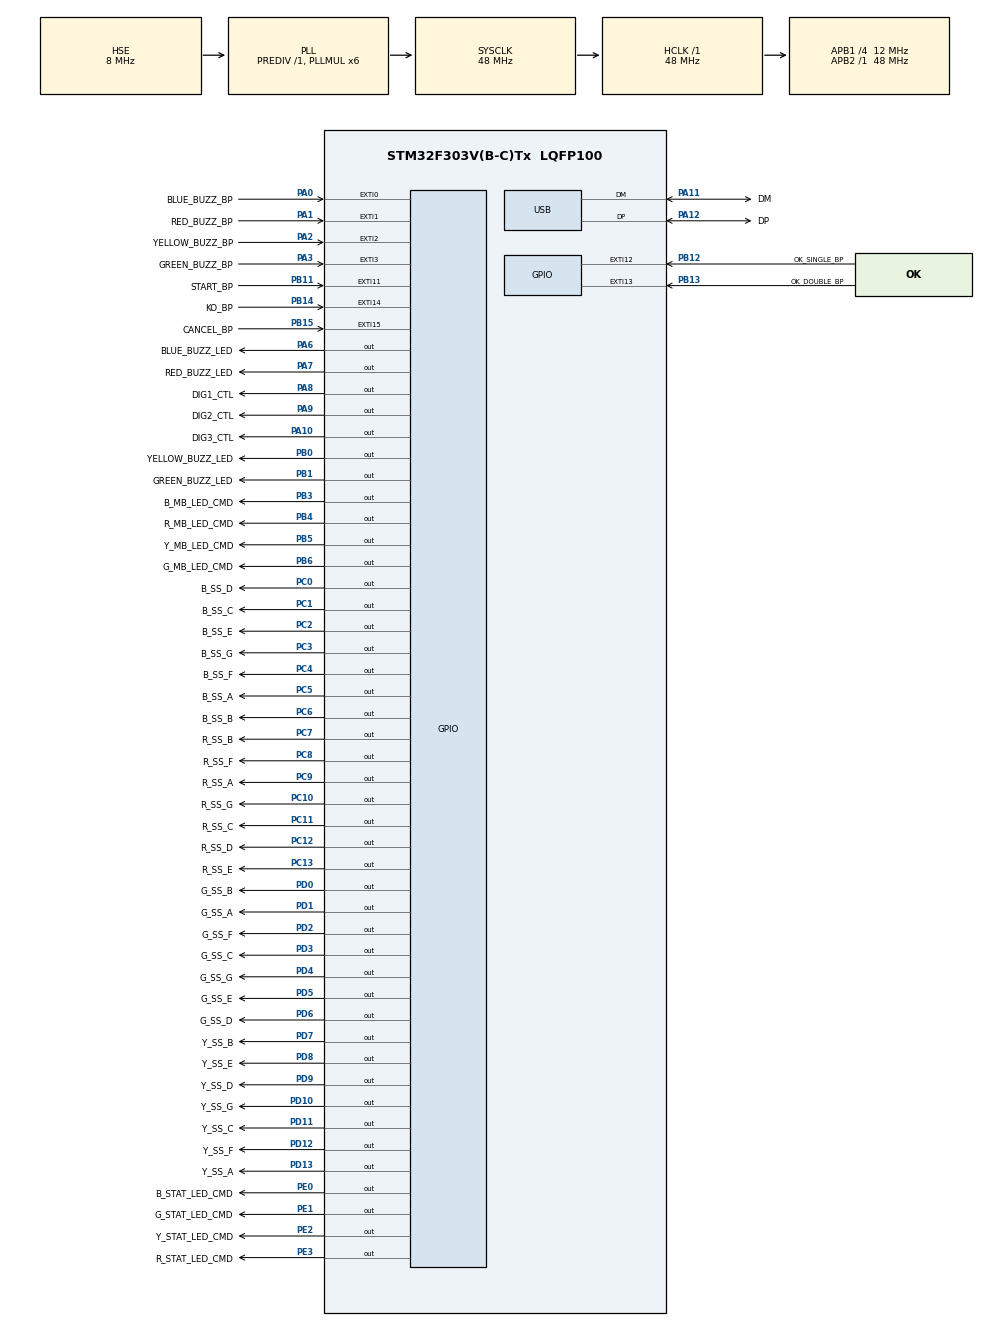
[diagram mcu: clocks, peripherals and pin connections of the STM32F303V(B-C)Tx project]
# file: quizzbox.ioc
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FREERTOS.INCLUDE_uxTaskPriorityGet=0
FREERTOS.INCLUDE_vTaskDelayUntil=1
FREERTOS.INCLUDE_vTaskPrioritySet=0
FREERTOS.Tasks01=defaultTask,0,128,StartDefaultTask,Default,NULL,Dynamic,NULL,NULL
Mcu.Family=STM32F3
Mcu.Name=STM32F303V(B-C)Tx
Mcu.Package=LQFP100
NVIC.EXTI0_IRQn=true\:5\:0\:false\:false\:true\:true\:true\:true
NVIC.EXTI15_10_IRQn=true\:5\:0\:false\:false\:true\:true\:true\:true
NVIC.EXTI1_IRQn=true\:5\:0\:false\:false\:true\:true\:true\:true
NVIC.EXTI2_TSC_IRQn=true\:5\:0\:false\:false\:true\:true\:true\:true
NVIC.EXTI3_IRQn=true\:5\:0\:false\:false\:true\:true\:true\:true
NVIC.PriorityGroup=NVIC_PRIORITYGROUP_4
PA0.GPIO_Label=BLUE_BUZZ_BP
PA0.GPIO_ModeDefaultEXTI=GPIO_MODE_IT_FALLING
PA0.GPIO_PuPd=GPIO_PULLUP
PA0.Signal=GPXTI0
PA1.GPIO_Label=RED_BUZZ_BP
PA1.GPIO_ModeDefaultEXTI=GPIO_MODE_IT_FALLING
PA1.GPIO_PuPd=GPIO_PULLUP
PA1.Signal=GPXTI1
PA10.GPIO_Label=DIG3_CTL
PA10.GPIO_ModeDefaultOutputPP=GPIO_MODE_OUTPUT_OD
PA10.PinState=GPIO_PIN_SET
PA10.Signal=GPIO_Output
PA11.GPIO_Label=DM
PA11.Mode=Device
PA11.Signal=USB_DM
PA12.GPIO_Label=DP
PA12.Mode=Device
PA12.Signal=USB_DP
PA13.GPIO_Label=SWDIO
PA13.Mode=Serial_Wire
PA13.Signal=SYS_JTMS-SWDIO
PA14.GPIO_Label=SWCLK
PA14.Mode=Serial_Wire
PA14.Signal=SYS_JTCK-SWCLK
PA2.GPIO_Label=YELLOW_BUZZ_BP
PA2.GPIO_ModeDefaultEXTI=GPIO_MODE_IT_FALLING
PA2.GPIO_PuPd=GPIO_PULLUP
PA2.Signal=GPXTI2
PA3.GPIO_Label=GREEN_BUZZ_BP
PA3.GPIO_ModeDefaultEXTI=GPIO_MODE_IT_FALLING
PA3.GPIO_PuPd=GPIO_PULLUP
PA3.Signal=GPXTI3
PA6.GPIO_Label=BLUE_BUZZ_LED
PA6.GPIO_ModeDefaultOutputPP=GPIO_MODE_OUTPUT_PP
PA6.Signal=GPIO_Output
PA7.GPIO_Label=RED_BUZZ_LED
PA7.Signal=GPIO_Output
PA8.GPIO_Label=DIG1_CTL
PA8.GPIO_ModeDefaultOutputPP=GPIO_MODE_OUTPUT_OD
PA8.PinState=GPIO_PIN_SET
PA8.Signal=GPIO_Output
PA9.GPIO_Label=DIG2_CTL
PA9.GPIO_ModeDefaultOutputPP=GPIO_MODE_OUTPUT_OD
PA9.PinState=GPIO_PIN_SET
PA9.Signal=GPIO_Output
PB0.GPIO_Label=YELLOW_BUZZ_LED
PB0.Signal=GPIO_Output
PB1.GPIO_Label=GREEN_BUZZ_LED
PB1.Signal=GPIO_Output
PB11.GPIO_Label=START_BP
PB11.GPIO_ModeDefaultEXTI=GPIO_MODE_IT_FALLING
PB11.GPIO_PuPd=GPIO_PULLUP
PB11.Signal=GPXTI11
PB12.GPIO_Label=OK_SINGLE_BP
PB12.GPIO_ModeDefaultEXTI=GPIO_MODE_IT_FALLING
PB12.GPIO_PuPd=GPIO_PULLUP
PB12.Signal=GPXTI12
PB13.GPIO_Label=OK_DOUBLE_BP
PB13.GPIO_ModeDefaultEXTI=GPIO_MODE_IT_FALLING
PB13.GPIO_PuPd=GPIO_PULLUP
PB13.Signal=GPXTI13
PB14.GPIO_Label=KO_BP
PB14.GPIO_ModeDefaultEXTI=GPIO_MODE_IT_FALLING
PB14.GPIO_PuPd=GPIO_PULLUP
PB14.Signal=GPXTI14
PB15.GPIO_Label=CANCEL_BP
PB15.GPIO_ModeDefaultEXTI=GPIO_MODE_IT_FALLING
PB15.GPIO_PuPd=GPIO_PULLUP
PB15.Signal=GPXTI15
PB3.GPIO_Label=B_MB_LED_CMD
PB3.GPIO_ModeDefaultOutputPP=GPIO_MODE_OUTPUT_PP
PB3.Signal=GPIO_Output
PB4.GPIO_Label=R_MB_LED_CMD
PB4.GPIO_ModeDefaultOutputPP=GPIO_MODE_OUTPUT_PP
PB4.Signal=GPIO_Output
PB5.GPIO_Label=Y_MB_LED_CMD
PB5.GPIO_ModeDefaultOutputPP=GPIO_MODE_OUTPUT_PP
PB5.Signal=GPIO_Output
PB6.GPIO_Label=G_MB_LED_CMD
PB6.GPIO_ModeDefaultOutputPP=GPIO_MODE_OUTPUT_PP
PB6.Signal=GPIO_Output
PC0.GPIO_Label=B_SS_D
PC0.GPIO_ModeDefaultOutputPP=GPIO_MODE_OUTPUT_OD
PC0.PinState=GPIO_PIN_SET
PC0.Signal=GPIO_Output
PC1.GPIO_Label=B_SS_C
PC1.GPIO_ModeDefaultOutputPP=GPIO_MODE_OUTPUT_OD
PC1.PinState=GPIO_PIN_SET
PC1.Signal=GPIO_Output
PC10.GPIO_Label=R_SS_G
PC10.GPIO_ModeDefaultOutputPP=GPIO_MODE_OUTPUT_OD
PC10.PinState=GPIO_PIN_SET
PC10.Signal=GPIO_Output
PC11.GPIO_Label=R_SS_C
PC11.GPIO_ModeDefaultOutputPP=GPIO_MODE_OUTPUT_OD
PC11.PinState=GPIO_PIN_SET
PC11.Signal=GPIO_Output
PC12.GPIO_Label=R_SS_D
PC12.GPIO_ModeDefaultOutputPP=GPIO_MODE_OUTPUT_OD
PC12.PinState=GPIO_PIN_SET
PC12.Signal=GPIO_Output
PC13.GPIO_Label=R_SS_E
PC13.GPIO_ModeDefaultOutputPP=GPIO_MODE_OUTPUT_OD
PC13.PinState=GPIO_PIN_SET
PC13.Signal=GPIO_Output
PC14-OSC32_IN.GPIO_Label=OSC32_IN
PC14-OSC32_IN.Signal=RCC_OSC32_IN
PC15-OSC32_OUT.GPIO_Label=OSC32_OUT
PC15-OSC32_OUT.Signal=RCC_OSC32_OUT
PC2.GPIO_Label=B_SS_E
PC2.GPIO_ModeDefaultOutputPP=GPIO_MODE_OUTPUT_OD
PC2.PinState=GPIO_PIN_SET
PC2.Signal=GPIO_Output
PC3.GPIO_Label=B_SS_G
PC3.GPIO_ModeDefaultOutputPP=GPIO_MODE_OUTPUT_OD
PC3.PinState=GPIO_PIN_SET
PC3.Signal=GPIO_Output
PC4.GPIO_Label=B_SS_F
PC4.GPIO_ModeDefaultOutputPP=GPIO_MODE_OUTPUT_OD
PC4.PinState=GPIO_PIN_SET
PC4.Signal=GPIO_Output
PC5.GPIO_Label=B_SS_A
PC5.GPIO_ModeDefaultOutputPP=GPIO_MODE_OUTPUT_OD
PC5.PinState=GPIO_PIN_SET
PC5.Signal=GPIO_Output
PC6.GPIO_Label=B_SS_B
PC6.GPIO_ModeDefaultOutputPP=GPIO_MODE_OUTPUT_OD
PC6.PinState=GPIO_PIN_SET
PC6.Signal=GPIO_Output
PC7.GPIO_Label=R_SS_B
PC7.GPIO_ModeDefaultOutputPP=GPIO_MODE_OUTPUT_OD
PC7.PinState=GPIO_PIN_SET
PC7.Signal=GPIO_Output
PC8.GPIO_Label=R_SS_F
PC8.GPIO_ModeDefaultOutputPP=GPIO_MODE_OUTPUT_OD
PC8.PinState=GPIO_PIN_SET
PC8.Signal=GPIO_Output
PC9.GPIO_Label=R_SS_A
PC9.GPIO_ModeDefaultOutputPP=GPIO_MODE_OUTPUT_OD
PC9.PinState=GPIO_PIN_SET
PC9.Signal=GPIO_Output
PD0.GPIO_Label=G_SS_B
PD0.GPIO_ModeDefaultOutputPP=GPIO_MODE_OUTPUT_OD
PD0.PinState=GPIO_PIN_SET
PD0.Signal=GPIO_Output
PD1.GPIO_Label=G_SS_A
PD1.GPIO_ModeDefaultOutputPP=GPIO_MODE_OUTPUT_OD
PD1.PinState=GPIO_PIN_SET
PD1.Signal=GPIO_Output
PD10.GPIO_Label=Y_SS_G
PD10.GPIO_ModeDefaultOutputPP=GPIO_MODE_OUTPUT_OD
PD10.PinState=GPIO_PIN_SET
PD10.Signal=GPIO_Output
PD11.GPIO_Label=Y_SS_C
PD11.GPIO_ModeDefaultOutputPP=GPIO_MODE_OUTPUT_OD
PD11.PinState=GPIO_PIN_SET
PD11.Signal=GPIO_Output
PD12.GPIO_Label=Y_SS_F
PD12.GPIO_ModeDefaultOutputPP=GPIO_MODE_OUTPUT_OD
PD12.PinState=GPIO_PIN_SET
PD12.Signal=GPIO_Output
PD13.GPIO_Label=Y_SS_A
PD13.GPIO_ModeDefaultOutputPP=GPIO_MODE_OUTPUT_OD
PD13.PinState=GPIO_PIN_SET
PD13.Signal=GPIO_Output
PD2.GPIO_Label=G_SS_F
PD2.GPIO_ModeDefaultOutputPP=GPIO_MODE_OUTPUT_OD
PD2.PinState=GPIO_PIN_SET
PD2.Signal=GPIO_Output
PD3.GPIO_Label=G_SS_C
PD3.GPIO_ModeDefaultOutputPP=GPIO_MODE_OUTPUT_OD
PD3.PinState=GPIO_PIN_SET
PD3.Signal=GPIO_Output
PD4.GPIO_Label=G_SS_G
PD4.GPIO_ModeDefaultOutputPP=GPIO_MODE_OUTPUT_OD
PD4.PinState=GPIO_PIN_SET
PD4.Signal=GPIO_Output
PD5.GPIO_Label=G_SS_E
PD5.GPIO_ModeDefaultOutputPP=GPIO_MODE_OUTPUT_OD
PD5.PinState=GPIO_PIN_SET
PD5.Signal=GPIO_Output
PD6.GPIO_Label=G_SS_D
PD6.GPIO_ModeDefaultOutputPP=GPIO_MODE_OUTPUT_OD
PD6.PinState=GPIO_PIN_SET
PD6.Signal=GPIO_Output
PD7.GPIO_Label=Y_SS_B
PD7.GPIO_ModeDefaultOutputPP=GPIO_MODE_OUTPUT_OD
PD7.PinState=GPIO_PIN_SET
PD7.Signal=GPIO_Output
PD8.GPIO_Label=Y_SS_E
PD8.GPIO_ModeDefaultOutputPP=GPIO_MODE_OUTPUT_OD
PD8.PinState=GPIO_PIN_SET
PD8.Signal=GPIO_Output
PD9.GPIO_Label=Y_SS_D
PD9.GPIO_ModeDefaultOutputPP=GPIO_MODE_OUTPUT_OD
PD9.PinState=GPIO_PIN_SET
PD9.Signal=GPIO_Output
PE0.GPIO_Label=B_STAT_LED_CMD
PE0.GPIO_ModeDefaultOutputPP=GPIO_MODE_OUTPUT_OD
PE0.Signal=GPIO_Output
PE1.GPIO_Label=G_STAT_LED_CMD
PE1.GPIO_ModeDefaultOutputPP=GPIO_MODE_OUTPUT_OD
PE1.Signal=GPIO_Output
PE2.GPIO_Label=Y_STAT_LED_CMD
PE2.GPIO_ModeDefaultOutputPP=GPIO_MODE_OUTPUT_OD
PE2.Signal=GPIO_Output
PE3.GPIO_Label=R_STAT_LED_CMD
PE3.GPIO_ModeDefaultOutputPP=GPIO_MODE_OUTPUT_OD
PE3.Signal=GPIO_Output
PF0-OSC_IN.GPIO_Label=OSC_IN
PF0-OSC_IN.Mode=HSE-External-Clock-Source
PF0-OSC_IN.Signal=RCC_OSC_IN
PF1-OSC_OUT.GPIO_Label=OSC_OUT
PF1-OSC_OUT.Signal=RCC_OSC_OUT
ProjectManager.HeapSize=0x200
ProjectManager.StackSize=0x400
ProjectManager.TargetToolchain=SW4STM32
RCC.AHBFreq_Value=48000000
RCC.APB1CLKDivider=RCC_HCLK_DIV4
RCC.APB1Freq_Value=12000000
RCC.APB1TimFreq_Value=24000000
RCC.APB2Freq_Value=48000000
RCC.APB2TimFreq_Value=48000000
RCC.CortexFreq_Value=48000000
RCC.HCLKFreq_Value=48000000
RCC.HSE_VALUE=8000000
RCC.HSI_VALUE=8000000
RCC.LSE_VALUE=32768
RCC.PLLMUL=RCC_PLL_MUL6
RCC.SYSCLKFreq_VALUE=48000000
RCC.SYSCLKSourceVirtual=RCC_SYSCLKSOURCE_PLLCLK
RCC.USBFreq_Value=48000000
VP_FREERTOS_VS_CMSIS_V1.Mode=CMSIS_V1
board=STM32F3DISCOVERY

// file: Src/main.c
/* USER CODE BEGIN Header */
/**
  ******************************************************************************
  * @file           : main.c
  * @brief          : Main program body
  ******************************************************************************
  * @attention
  *
  * <h2><center>&copy; Copyright (c) 2021 STMicroelectronics.
  * All rights reserved.</center></h2>
  *
  * This software component is licensed by ST under Ultimate Liberty license
  * SLA0044, the "License"; You may not use this file except in compliance with
  * the License. You may obtain a copy of the License at:
  *                             www.st.com/SLA0044
  *
  ******************************************************************************
  */
/* USER CODE END Header */

#include "main.h"
#include "cmsis_os.h"

/* USER CODE BEGIN Includes */
#include "FreeRTOS.h"
#include "task.h"
#include "queue.h"

#include "fsm_task.h"
#include "config.h"
#include "task_config.h"
#include "buzzer_task.h"
#include "handler_task.h"
#include "display_task.h"
/* USER CODE END Includes */

/* USER CODE BEGIN PD */
xQueueHandle buzzer_queue;
xQueueHandle exti_queue;
xQueueHandle fsm_queue;

player_t blue = {BLUE_BUZZ_BP_Pin,
                 {{BLUE_BUZZ_LED_GPIO_Port, BLUE_BUZZ_LED_Pin},
                 {B_MB_LED_CMD_GPIO_Port, B_MB_LED_CMD_Pin}},
                 {B_STAT_LED_CMD_GPIO_Port, B_STAT_LED_CMD_Pin},
                 0};

player_t red = {RED_BUZZ_BP_Pin,
                {{RED_BUZZ_LED_GPIO_Port, RED_BUZZ_LED_Pin},
                {R_MB_LED_CMD_GPIO_Port, R_MB_LED_CMD_Pin}},
                {R_STAT_LED_CMD_GPIO_Port, R_STAT_LED_CMD_Pin},
                0};

player_t yellow = {YELLOW_BUZZ_BP_Pin,
                   {{YELLOW_BUZZ_LED_GPIO_Port, YELLOW_BUZZ_LED_Pin},
                   {Y_MB_LED_CMD_GPIO_Port, Y_MB_LED_CMD_Pin}},
                   {Y_STAT_LED_CMD_GPIO_Port, Y_STAT_LED_CMD_Pin},
                   0};

player_t green = {GREEN_BUZZ_BP_Pin,
                  {{GREEN_BUZZ_LED_GPIO_Port, GREEN_BUZZ_LED_Pin},
                  {G_MB_LED_CMD_GPIO_Port, G_MB_LED_CMD_Pin}},
                  {G_STAT_LED_CMD_GPIO_Port, G_STAT_LED_CMD_Pin},
                  0};

/* USER CODE END PD */

PCD_HandleTypeDef hpcd_USB_FS;

void SystemClock_Config(void);
static void MX_GPIO_Init(void);
static void MX_USB_PCD_Init(void);

/* USER CODE BEGIN 0 */

/* External interrupt callback */
void HAL_GPIO_EXTI_Callback(uint16_t gpio_pin)
{
    /* Detect EXTI event and send pin number to
     * handler_task to quickly process IRQ
     * and to be ready to trigger another one */
    BaseType_t taskWoken = pdFALSE;
    xQueueSendFromISR(exti_queue, &gpio_pin, &taskWoken);
    portEND_SWITCHING_ISR(taskWoken);
}

/* USER CODE END 0 */

int main(void)
{

  /* MCU Configuration--------------------------------------------------------*/

  /* Reset of all peripherals, Initializes the Flash interface and the Systick. */
  HAL_Init();

  /* Configure the system clock */
  SystemClock_Config();

  /* Initialize all configured peripherals */
  MX_GPIO_Init();
  MX_USB_PCD_Init();

  /* USER CODE BEGIN RTOS_QUEUES */
  buzzer_queue = xQueueCreate(BUZZ_ID_QUEUE_LEN, sizeof(led_group_t));
  exti_queue = xQueueCreate(EXTI_QUEUE_LEN, sizeof(uint16_t));
  fsm_queue = xQueueCreate(FSM_QUEUE_LEN, sizeof(fsm_input_t));
  /* USER CODE END RTOS_QUEUES */

  /* USER CODE BEGIN RTOS_THREADS */
  create_buzzer_task();
  create_handler_task();
  create_fsm_task();
  create_display_task();
  /* USER CODE END RTOS_THREADS */

  /* Start scheduler */
  vTaskStartScheduler();

  /* We should never get here as control is now taken by the scheduler */

  /* Infinite loop */
  while (1)
  {

  }
}

void SystemClock_Config(void)
{
  RCC_OscInitTypeDef RCC_OscInitStruct = {0};
  RCC_ClkInitTypeDef RCC_ClkInitStruct = {0};
  RCC_PeriphCLKInitTypeDef PeriphClkInit = {0};

  /** Initializes the CPU, AHB and APB busses clocks
  */
  RCC_OscInitStruct.OscillatorType = RCC_OSCILLATORTYPE_HSE;
  RCC_OscInitStruct.HSEState = RCC_HSE_BYPASS;
  RCC_OscInitStruct.HSEPredivValue = RCC_HSE_PREDIV_DIV1;
  RCC_OscInitStruct.HSIState = RCC_HSI_ON;
  RCC_OscInitStruct.PLL.PLLState = RCC_PLL_ON;
  RCC_OscInitStruct.PLL.PLLSource = RCC_PLLSOURCE_HSE;
  RCC_OscInitStruct.PLL.PLLMUL = RCC_PLL_MUL6;
  if (HAL_RCC_OscConfig(&RCC_OscInitStruct) != HAL_OK)
  {
    Error_Handler();
  }
  /** Initializes the CPU, AHB and APB busses clocks
  */
  RCC_ClkInitStruct.ClockType = RCC_CLOCKTYPE_HCLK|RCC_CLOCKTYPE_SYSCLK
                              |RCC_CLOCKTYPE_PCLK1|RCC_CLOCKTYPE_PCLK2;
  RCC_ClkInitStruct.SYSCLKSource = RCC_SYSCLKSOURCE_PLLCLK;
  RCC_ClkInitStruct.AHBCLKDivider = RCC_SYSCLK_DIV1;
  RCC_ClkInitStruct.APB1CLKDivider = RCC_HCLK_DIV4;
  RCC_ClkInitStruct.APB2CLKDivider = RCC_HCLK_DIV1;

  if (HAL_RCC_ClockConfig(&RCC_ClkInitStruct, FLASH_LATENCY_1) != HAL_OK)
  {
    Error_Handler();
  }
  PeriphClkInit.PeriphClockSelection = RCC_PERIPHCLK_USB;
  PeriphClkInit.USBClockSelection = RCC_USBCLKSOURCE_PLL;
  if (HAL_RCCEx_PeriphCLKConfig(&PeriphClkInit) != HAL_OK)
  {
    Error_Handler();
  }
}

static void MX_USB_PCD_Init(void)
{

  hpcd_USB_FS.Instance = USB;
  hpcd_USB_FS.Init.dev_endpoints = 8;
  hpcd_USB_FS.Init.speed = PCD_SPEED_FULL;
  hpcd_USB_FS.Init.phy_itface = PCD_PHY_EMBEDDED;
  hpcd_USB_FS.Init.low_power_enable = DISABLE;
  hpcd_USB_FS.Init.battery_charging_enable = DISABLE;
  if (HAL_PCD_Init(&hpcd_USB_FS) != HAL_OK)
  {
    Error_Handler();
  }

}

static void MX_GPIO_Init(void)
{
  GPIO_InitTypeDef GPIO_InitStruct = {0};

  /* GPIO Ports Clock Enable */
  __HAL_RCC_GPIOE_CLK_ENABLE();
  __HAL_RCC_GPIOC_CLK_ENABLE();
  __HAL_RCC_GPIOF_CLK_ENABLE();
  __HAL_RCC_GPIOA_CLK_ENABLE();
  __HAL_RCC_GPIOB_CLK_ENABLE();
  __HAL_RCC_GPIOD_CLK_ENABLE();

  /*Configure GPIO pin Output Level */
  HAL_GPIO_WritePin(GPIOE, Y_STAT_LED_CMD_Pin|R_STAT_LED_CMD_Pin|B_STAT_LED_CMD_Pin|G_STAT_LED_CMD_Pin, GPIO_PIN_RESET);

  /*Configure GPIO pin Output Level */
  HAL_GPIO_WritePin(GPIOC, R_SS_E_Pin|B_SS_D_Pin|B_SS_C_Pin|B_SS_E_Pin
                          |B_SS_G_Pin|B_SS_F_Pin|B_SS_A_Pin|B_SS_B_Pin
                          |R_SS_B_Pin|R_SS_F_Pin|R_SS_A_Pin|R_SS_G_Pin
                          |R_SS_C_Pin|R_SS_D_Pin, GPIO_PIN_SET);

  /*Configure GPIO pin Output Level */
  HAL_GPIO_WritePin(GPIOA, BLUE_BUZZ_LED_Pin|RED_BUZZ_LED_Pin, GPIO_PIN_RESET);

  /*Configure GPIO pin Output Level */
  HAL_GPIO_WritePin(GPIOB, YELLOW_BUZZ_LED_Pin|GREEN_BUZZ_LED_Pin|B_MB_LED_CMD_Pin|R_MB_LED_CMD_Pin
                          |Y_MB_LED_CMD_Pin|G_MB_LED_CMD_Pin, GPIO_PIN_RESET);

  /*Configure GPIO pin Output Level */
  HAL_GPIO_WritePin(GPIOD, Y_SS_E_Pin|Y_SS_D_Pin|Y_SS_G_Pin|Y_SS_C_Pin
                          |Y_SS_F_Pin|Y_SS_A_Pin|G_SS_B_Pin|G_SS_A_Pin
                          |G_SS_F_Pin|G_SS_C_Pin|G_SS_G_Pin|G_SS_E_Pin
                          |G_SS_D_Pin|Y_SS_B_Pin, GPIO_PIN_SET);

  /*Configure GPIO pin Output Level */
  HAL_GPIO_WritePin(GPIOA, DIG1_CTL_Pin|DIG2_CTL_Pin|DIG3_CTL_Pin, GPIO_PIN_SET);

  /*Configure GPIO pins : Y_STAT_LED_CMD_Pin R_STAT_LED_CMD_Pin B_STAT_LED_CMD_Pin G_STAT_LED_CMD_Pin */
  GPIO_InitStruct.Pin = Y_STAT_LED_CMD_Pin|R_STAT_LED_CMD_Pin|B_STAT_LED_CMD_Pin|G_STAT_LED_CMD_Pin;
  GPIO_InitStruct.Mode = GPIO_MODE_OUTPUT_OD;
  GPIO_InitStruct.Pull = GPIO_NOPULL;
  GPIO_InitStruct.Speed = GPIO_SPEED_FREQ_LOW;
  HAL_GPIO_Init(GPIOE, &GPIO_InitStruct);

  /*Configure GPIO pins : R_SS_E_Pin B_SS_D_Pin B_SS_C_Pin B_SS_E_Pin
                           B_SS_G_Pin B_SS_F_Pin B_SS_A_Pin B_SS_B_Pin
                           R_SS_B_Pin R_SS_F_Pin R_SS_A_Pin R_SS_G_Pin
                           R_SS_C_Pin R_SS_D_Pin */
  GPIO_InitStruct.Pin = R_SS_E_Pin|B_SS_D_Pin|B_SS_C_Pin|B_SS_E_Pin
                          |B_SS_G_Pin|B_SS_F_Pin|B_SS_A_Pin|B_SS_B_Pin
                          |R_SS_B_Pin|R_SS_F_Pin|R_SS_A_Pin|R_SS_G_Pin
                          |R_SS_C_Pin|R_SS_D_Pin;
  GPIO_InitStruct.Mode = GPIO_MODE_OUTPUT_OD;
  GPIO_InitStruct.Pull = GPIO_NOPULL;
  GPIO_InitStruct.Speed = GPIO_SPEED_FREQ_LOW;
  HAL_GPIO_Init(GPIOC, &GPIO_InitStruct);

  /*Configure GPIO pins : BLUE_BUZZ_BP_Pin RED_BUZZ_BP_Pin YELLOW_BUZZ_BP_Pin GREEN_BUZZ_BP_Pin */
  GPIO_InitStruct.Pin = BLUE_BUZZ_BP_Pin|RED_BUZZ_BP_Pin|YELLOW_BUZZ_BP_Pin|GREEN_BUZZ_BP_Pin;
  GPIO_InitStruct.Mode = GPIO_MODE_IT_FALLING;
  GPIO_InitStruct.Pull = GPIO_PULLUP;
  HAL_GPIO_Init(GPIOA, &GPIO_InitStruct);

  /*Configure GPIO pins : BLUE_BUZZ_LED_Pin RED_BUZZ_LED_Pin */
  GPIO_InitStruct.Pin = BLUE_BUZZ_LED_Pin|RED_BUZZ_LED_Pin;
  GPIO_InitStruct.Mode = GPIO_MODE_OUTPUT_PP;
  GPIO_InitStruct.Pull = GPIO_NOPULL;
  GPIO_InitStruct.Speed = GPIO_SPEED_FREQ_LOW;
  HAL_GPIO_Init(GPIOA, &GPIO_InitStruct);

  /*Configure GPIO pins : YELLOW_BUZZ_LED_Pin GREEN_BUZZ_LED_Pin B_MB_LED_CMD_Pin R_MB_LED_CMD_Pin
                           Y_MB_LED_CMD_Pin G_MB_LED_CMD_Pin */
  GPIO_InitStruct.Pin = YELLOW_BUZZ_LED_Pin|GREEN_BUZZ_LED_Pin|B_MB_LED_CMD_Pin|R_MB_LED_CMD_Pin
                          |Y_MB_LED_CMD_Pin|G_MB_LED_CMD_Pin;
  GPIO_InitStruct.Mode = GPIO_MODE_OUTPUT_PP;
  GPIO_InitStruct.Pull = GPIO_NOPULL;
  GPIO_InitStruct.Speed = GPIO_SPEED_FREQ_LOW;
  HAL_GPIO_Init(GPIOB, &GPIO_InitStruct);

  /*Configure GPIO pins : START_BP_Pin OK_SINGLE_BP_Pin OK_DOUBLE_BP_Pin KO_BP_Pin
                           CANCEL_BP_Pin */
  GPIO_InitStruct.Pin = START_BP_Pin|OK_SINGLE_BP_Pin|OK_DOUBLE_BP_Pin|KO_BP_Pin
                          |CANCEL_BP_Pin;
  GPIO_InitStruct.Mode = GPIO_MODE_IT_FALLING;
  GPIO_InitStruct.Pull = GPIO_PULLUP;
  HAL_GPIO_Init(GPIOB, &GPIO_InitStruct);

  /*Configure GPIO pins : Y_SS_E_Pin Y_SS_D_Pin Y_SS_G_Pin Y_SS_C_Pin
                           Y_SS_F_Pin Y_SS_A_Pin G_SS_B_Pin G_SS_A_Pin
                           G_SS_F_Pin G_SS_C_Pin G_SS_G_Pin G_SS_E_Pin
                           G_SS_D_Pin Y_SS_B_Pin */
  GPIO_InitStruct.Pin = Y_SS_E_Pin|Y_SS_D_Pin|Y_SS_G_Pin|Y_SS_C_Pin
                          |Y_SS_F_Pin|Y_SS_A_Pin|G_SS_B_Pin|G_SS_A_Pin
                          |G_SS_F_Pin|G_SS_C_Pin|G_SS_G_Pin|G_SS_E_Pin
                          |G_SS_D_Pin|Y_SS_B_Pin;
  GPIO_InitStruct.Mode = GPIO_MODE_OUTPUT_OD;
  GPIO_InitStruct.Pull = GPIO_NOPULL;
  GPIO_InitStruct.Speed = GPIO_SPEED_FREQ_LOW;
  HAL_GPIO_Init(GPIOD, &GPIO_InitStruct);

  /*Configure GPIO pins : DIG1_CTL_Pin DIG2_CTL_Pin DIG3_CTL_Pin */
  GPIO_InitStruct.Pin = DIG1_CTL_Pin|DIG2_CTL_Pin|DIG3_CTL_Pin;
  GPIO_InitStruct.Mode = GPIO_MODE_OUTPUT_OD;
  GPIO_InitStruct.Pull = GPIO_NOPULL;
  GPIO_InitStruct.Speed = GPIO_SPEED_FREQ_LOW;
  HAL_GPIO_Init(GPIOA, &GPIO_InitStruct);

  /* EXTI interrupt init*/
  HAL_NVIC_SetPriority(EXTI0_IRQn, 5, 0);
  HAL_NVIC_EnableIRQ(EXTI0_IRQn);

  HAL_NVIC_SetPriority(EXTI1_IRQn, 5, 0);
  HAL_NVIC_EnableIRQ(EXTI1_IRQn);

  HAL_NVIC_SetPriority(EXTI2_TSC_IRQn, 5, 0);
  HAL_NVIC_EnableIRQ(EXTI2_TSC_IRQn);

  HAL_NVIC_SetPriority(EXTI3_IRQn, 5, 0);
  HAL_NVIC_EnableIRQ(EXTI3_IRQn);

  HAL_NVIC_SetPriority(EXTI15_10_IRQn, 5, 0);
  HAL_NVIC_EnableIRQ(EXTI15_10_IRQn);

}

void Error_Handler(void)
{
}

/************************ (C) COPYRIGHT STMicroelectronics *****END OF FILE****/
